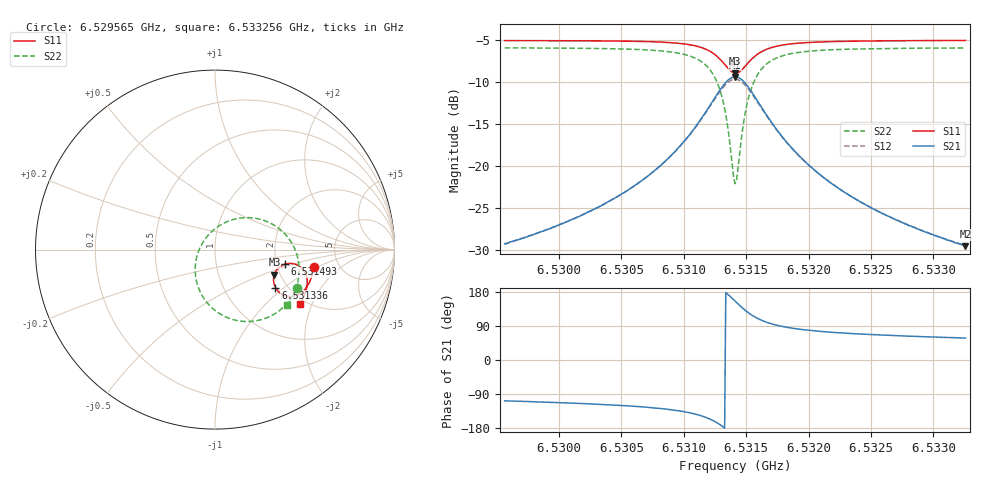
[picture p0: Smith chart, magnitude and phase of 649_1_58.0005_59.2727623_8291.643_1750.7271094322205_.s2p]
#  HZ  S  RI  R  50.00
! Rohde & Schwarz Vector Network Analyzer
! Rohde-Schwarz,ZNB20-2Port,1311601062101988,3.16
! Created: UTC 3/21/2024, 1:19:22 AM
! freq[Hz]  re:S11  im:S11  re:S21  im:S21  re:S12  im:S12  re:S22  im:S22
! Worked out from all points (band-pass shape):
!   401 points, 6.529565 GHz to 6.533256 GHz, reference 50 ohm
!   highest |S21| = -9.34 dB at 6.53141 GHz (marker M1); lowest = -29.5 dB at 6.533256 GHz (marker M2)
!   |S21| within 3 dB of the highest: 6.531227 GHz to 6.531596 GHz (369.2 kHz wide, 0.00565 % of centre)
!   lowest |S11| = -8.9 dB at 6.53141 GHz (marker M3), VSWR 2.12, Z = 93.2 - j29.8 ohm
!   |S11| at or under -10 dB: nowhere
!   |S22| runs from -22.1 to -5.9 dB; largest |S21 - S12| = 0.014
!   S11 on the Smith chart (normalised r, x): 6.529565 GHz: 3.26, -0.94; 6.531336 GHz: 1.74, -0.87; 6.531493 GHz: 2.21, -0.43; 6.533256 GHz: 1.84, -1.64
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6.5295646e9  0.5518 -0.0985  -0.0105 -0.033  -0.0113 -0.0326  0.4592 -0.2161
6.5301828e9  0.5384 -0.151  -0.0216 -0.0464  -0.0228 -0.046  0.4233 -0.2745
6.530515e9  0.5257 -0.1827  -0.035 -0.0598  -0.0367 -0.059  0.3882 -0.3146
6.5308011e9  0.506 -0.2153  -0.0604 -0.0788  -0.0628 -0.0769  0.3311 -0.3587
6.5310133e9  0.4757 -0.2438  -0.1053 -0.0982  -0.1084 -0.0941  0.2412 -0.3942
6.5311794e9  0.4232 -0.2609  -0.1873 -0.1006  -0.1892 -0.0922  0.0926 -0.3874
6.5312717e9  0.3726 -0.2485  -0.2649 -0.0624  -0.262 -0.0509  -0.0333 -0.308
6.5313086e9  0.3508 -0.231  -0.2969 -0.0259  -0.2907 -0.0146  -0.0797 -0.2409
6.5313363e9  0.3369 -0.2113  -0.3156 0.0118  -0.3066 0.0225  -0.1035 -0.1745
6.5313917e9  0.3268 -0.1581  -0.3216 0.1077  -0.3084 0.1128  -0.0945 -0.0166
6.5314101e9  0.3308 -0.1392  -0.3107 0.1406  -0.2975 0.1433  -0.0708 0.0349
6.5314286e9  0.3391 -0.1214  -0.2938 0.1708  -0.2809 0.1713  -0.0375 0.0809
6.5314655e9  0.3643 -0.0938  -0.2456 0.2167  -0.235 0.2137  0.0491 0.1474
6.5314932e9  0.3874 -0.0819  -0.204 0.2365  -0.1957 0.232  0.1206 0.1722
6.5315209e9  0.4104 -0.077  -0.1635 0.244  -0.1575 0.2392  0.1889 0.1781
6.5315578e9  0.4378 -0.0787  -0.1166 0.241  -0.1126 0.2367  0.2671 0.1645
6.5316501e9  0.4824 -0.1023  -0.0407 0.2047  -0.039 0.2027  0.3894 0.0875
6.5317885e9  0.5078 -0.1419  0.00363 0.1498  0.00501 0.1491  0.4543 -0.0215
6.5320284e9  0.5139 -0.1891  0.0211 0.0952  0.0223 0.0948  0.4683 -0.1329
6.5323145e9  0.5075 -0.2261  0.0228 0.0641  0.0238 0.0638  0.4554 -0.2028
6.5326467e9  0.496 -0.2583  0.0212 0.0455  0.0221 0.0452  0.4361 -0.252
6.5332557e9  0.4715 -0.3055  0.0178 0.0283  0.0185 0.0282  0.4011 -0.3097
